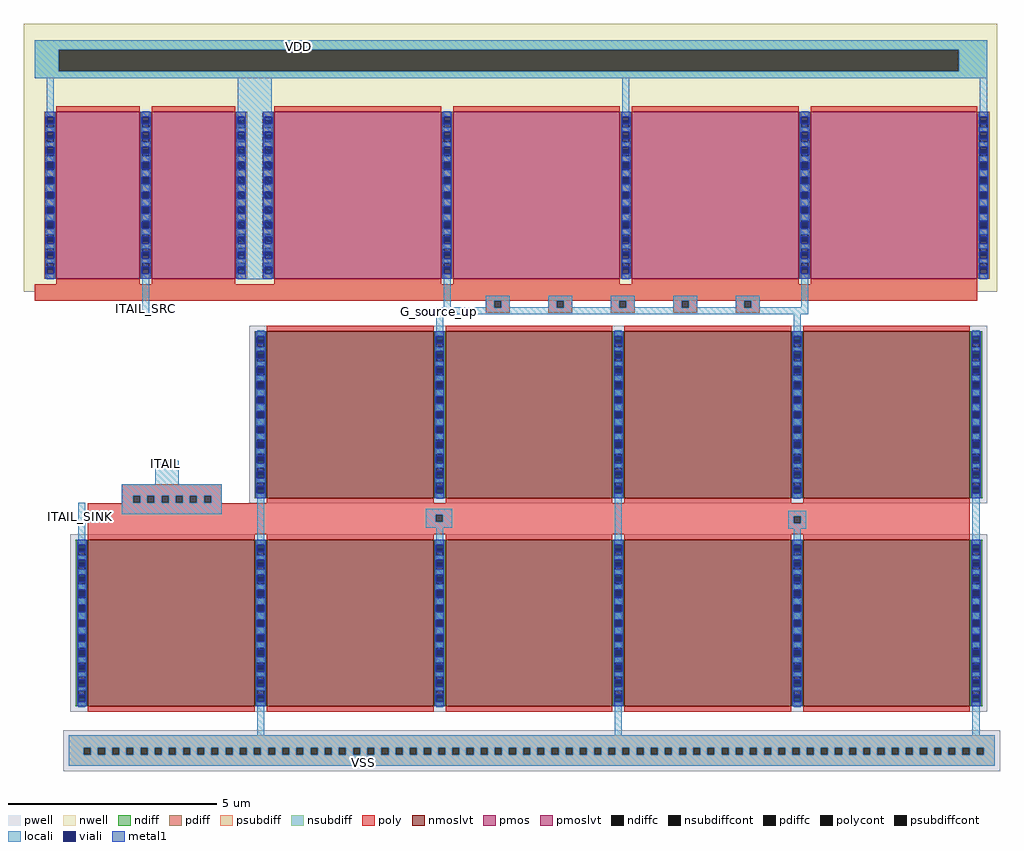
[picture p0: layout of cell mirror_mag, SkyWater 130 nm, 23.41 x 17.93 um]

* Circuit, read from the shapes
.subckt mirror_mag G_source_up ITAIL ITAIL_SINK ITAIL_SRC VDD VSS
XM1 VSS ITAIL ITAIL_SINK VSS sky130_fd_pr__nfet_01v8_lvt w=4 l=4
XM2 ITAIL ITAIL VSS VSS sky130_fd_pr__nfet_01v8_lvt w=4 l=4 m=4
XM3 G_source_up ITAIL VSS VSS sky130_fd_pr__nfet_01v8_lvt w=4 l=4 m=4
XM4 ITAIL_SRC G_source_up VDD VDD sky130_fd_pr__pfet_01v8 w=4 l=2 m=2
XM5 G_source_up G_source_up VDD VDD sky130_fd_pr__pfet_01v8_lvt w=4 l=4 m=4
.ends

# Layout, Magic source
magic
tech sky130A
magscale 1 2
<< nwell >>
rect 1529 2669 6198 3030
rect 1529 1781 1621 2669
rect 1638 2606 1672 2669
rect 2554 1803 2718 2669
rect 4400 2607 4434 2669
rect 6115 2607 6149 2669
rect 5258 1781 5292 1807
rect 1529 1745 6104 1781
rect 1580 1700 6104 1745
<< pwell >>
rect 1718 -557 6212 -359
<< psubdiff >>
rect 1744 -443 6186 -385
rect 1744 -477 1816 -443
rect 1850 -477 1884 -443
rect 1918 -477 1952 -443
rect 1986 -477 2020 -443
rect 2054 -477 2088 -443
rect 2122 -477 2156 -443
rect 2190 -477 2224 -443
rect 2258 -477 2292 -443
rect 2326 -477 2360 -443
rect 2394 -477 2428 -443
rect 2462 -477 2496 -443
rect 2530 -477 2564 -443
rect 2598 -477 2632 -443
rect 2666 -477 2700 -443
rect 2734 -477 2768 -443
rect 2802 -477 2836 -443
rect 2870 -477 2904 -443
rect 2938 -477 2972 -443
rect 3006 -477 3040 -443
rect 3074 -477 3108 -443
rect 3142 -477 3176 -443
rect 3210 -477 3244 -443
rect 3278 -477 3312 -443
rect 3346 -477 3380 -443
rect 3414 -477 3448 -443
rect 3482 -477 3516 -443
rect 3550 -477 3584 -443
rect 3618 -477 3652 -443
rect 3686 -477 3720 -443
rect 3754 -477 3788 -443
rect 3822 -477 3856 -443
rect 3890 -477 3924 -443
rect 3958 -477 3992 -443
rect 4026 -477 4060 -443
rect 4094 -477 4128 -443
rect 4162 -477 4196 -443
rect 4230 -477 4264 -443
rect 4298 -477 4332 -443
rect 4366 -477 4400 -443
rect 4434 -477 4468 -443
rect 4502 -477 4536 -443
rect 4570 -477 4604 -443
rect 4638 -477 4672 -443
rect 4706 -477 4740 -443
rect 4774 -477 4808 -443
rect 4842 -477 4876 -443
rect 4910 -477 4944 -443
rect 4978 -477 5012 -443
rect 5046 -477 5080 -443
rect 5114 -477 5148 -443
rect 5182 -477 5216 -443
rect 5250 -477 5284 -443
rect 5318 -477 5352 -443
rect 5386 -477 5420 -443
rect 5454 -477 5488 -443
rect 5522 -477 5556 -443
rect 5590 -477 5624 -443
rect 5658 -477 5692 -443
rect 5726 -477 5760 -443
rect 5794 -477 5828 -443
rect 5862 -477 5896 -443
rect 5930 -477 5964 -443
rect 5998 -477 6032 -443
rect 6066 -477 6100 -443
rect 6134 -477 6186 -443
rect 1744 -531 6186 -477
<< nsubdiff >>
rect 1580 2905 6150 2951
rect 1580 2803 1695 2905
rect 6013 2803 6150 2905
rect 1580 2769 6150 2803
<< psubdiffcont >>
rect 1816 -477 1850 -443
rect 1884 -477 1918 -443
rect 1952 -477 1986 -443
rect 2020 -477 2054 -443
rect 2088 -477 2122 -443
rect 2156 -477 2190 -443
rect 2224 -477 2258 -443
rect 2292 -477 2326 -443
rect 2360 -477 2394 -443
rect 2428 -477 2462 -443
rect 2496 -477 2530 -443
rect 2564 -477 2598 -443
rect 2632 -477 2666 -443
rect 2700 -477 2734 -443
rect 2768 -477 2802 -443
rect 2836 -477 2870 -443
rect 2904 -477 2938 -443
rect 2972 -477 3006 -443
rect 3040 -477 3074 -443
rect 3108 -477 3142 -443
rect 3176 -477 3210 -443
rect 3244 -477 3278 -443
rect 3312 -477 3346 -443
rect 3380 -477 3414 -443
rect 3448 -477 3482 -443
rect 3516 -477 3550 -443
rect 3584 -477 3618 -443
rect 3652 -477 3686 -443
rect 3720 -477 3754 -443
rect 3788 -477 3822 -443
rect 3856 -477 3890 -443
rect 3924 -477 3958 -443
rect 3992 -477 4026 -443
rect 4060 -477 4094 -443
rect 4128 -477 4162 -443
rect 4196 -477 4230 -443
rect 4264 -477 4298 -443
rect 4332 -477 4366 -443
rect 4400 -477 4434 -443
rect 4468 -477 4502 -443
rect 4536 -477 4570 -443
rect 4604 -477 4638 -443
rect 4672 -477 4706 -443
rect 4740 -477 4774 -443
rect 4808 -477 4842 -443
rect 4876 -477 4910 -443
rect 4944 -477 4978 -443
rect 5012 -477 5046 -443
rect 5080 -477 5114 -443
rect 5148 -477 5182 -443
rect 5216 -477 5250 -443
rect 5284 -477 5318 -443
rect 5352 -477 5386 -443
rect 5420 -477 5454 -443
rect 5488 -477 5522 -443
rect 5556 -477 5590 -443
rect 5624 -477 5658 -443
rect 5692 -477 5726 -443
rect 5760 -477 5794 -443
rect 5828 -477 5862 -443
rect 5896 -477 5930 -443
rect 5964 -477 5998 -443
rect 6032 -477 6066 -443
rect 6100 -477 6134 -443
<< nsubdiffcont >>
rect 1695 2803 6013 2905
<< poly >>
rect 1580 1700 6104 1781
rect 3744 1666 3785 1700
rect 3819 1666 3860 1700
rect 3744 1642 3860 1666
rect 4044 1666 4085 1700
rect 4119 1666 4160 1700
rect 4044 1642 4160 1666
rect 4344 1666 4385 1700
rect 4419 1666 4460 1700
rect 4344 1642 4460 1666
rect 4644 1666 4685 1700
rect 4719 1666 4760 1700
rect 4644 1642 4760 1666
rect 4944 1666 4985 1700
rect 5019 1666 5060 1700
rect 4944 1642 5060 1666
rect 1999 765 2479 821
rect 1999 731 2053 765
rect 2087 731 2121 765
rect 2155 731 2189 765
rect 2223 731 2257 765
rect 2291 731 2325 765
rect 2359 731 2393 765
rect 2427 731 2479 765
rect 1999 728 2479 731
rect 1836 675 6068 728
rect 1836 641 3504 675
rect 3538 667 6068 675
rect 3538 641 5222 667
rect 1836 633 5222 641
rect 5256 633 6068 667
rect 1836 580 6068 633
<< polycont >>
rect 3785 1666 3819 1700
rect 4085 1666 4119 1700
rect 4385 1666 4419 1700
rect 4685 1666 4719 1700
rect 4985 1666 5019 1700
rect 2053 731 2087 765
rect 2121 731 2155 765
rect 2189 731 2223 765
rect 2257 731 2291 765
rect 2325 731 2359 765
rect 2393 731 2427 765
rect 3504 641 3538 675
rect 5222 633 5256 667
<< locali >>
rect 1580 2905 6150 2951
rect 1580 2803 1695 2905
rect 6013 2803 6150 2905
rect 1580 2769 6150 2803
rect 1638 2606 1672 2769
rect 2096 1639 2130 1806
rect 2554 1803 2718 2769
rect 4400 2607 4434 2769
rect 6116 2607 6150 2769
rect 3542 1669 3576 1807
rect 3744 1700 3860 1725
rect 3744 1669 3785 1700
rect 3506 1666 3785 1669
rect 3819 1669 3860 1700
rect 4044 1700 4160 1725
rect 4044 1669 4085 1700
rect 3819 1666 4085 1669
rect 4119 1669 4160 1700
rect 4344 1700 4460 1725
rect 4344 1669 4385 1700
rect 4119 1666 4385 1669
rect 4419 1669 4460 1700
rect 4644 1700 4760 1725
rect 4644 1669 4685 1700
rect 4419 1666 4685 1669
rect 4719 1669 4760 1700
rect 4944 1700 5060 1725
rect 4944 1669 4985 1700
rect 4719 1666 4985 1669
rect 5019 1669 5060 1700
rect 5258 1669 5292 1807
rect 5019 1666 5292 1669
rect 3506 1635 5292 1666
rect 3506 1556 3540 1635
rect 5222 1554 5256 1635
rect 2158 821 2271 934
rect 1999 765 2479 821
rect 1999 731 2053 765
rect 2087 731 2121 765
rect 2155 731 2189 765
rect 2223 731 2257 765
rect 2291 731 2325 765
rect 2359 731 2393 765
rect 2427 731 2479 765
rect 1790 554 1824 731
rect 1999 676 2479 731
rect 2648 554 2682 752
rect 3457 675 3583 703
rect 3457 641 3504 675
rect 3538 641 3583 675
rect 3457 612 3583 641
rect 3506 555 3540 612
rect 4364 554 4398 752
rect 5196 667 5282 693
rect 5196 633 5222 667
rect 5256 633 5282 667
rect 5196 607 5282 633
rect 5222 554 5256 607
rect 6080 554 6114 752
rect 2647 -385 2682 -246
rect 4364 -385 4398 -248
rect 6080 -385 6114 -249
rect 1744 -443 6186 -385
rect 1744 -477 1816 -443
rect 1850 -477 1884 -443
rect 1918 -477 1952 -443
rect 1986 -477 2020 -443
rect 2054 -477 2088 -443
rect 2122 -477 2156 -443
rect 2190 -477 2224 -443
rect 2258 -477 2292 -443
rect 2326 -477 2360 -443
rect 2394 -477 2428 -443
rect 2462 -477 2496 -443
rect 2530 -477 2564 -443
rect 2598 -477 2632 -443
rect 2666 -477 2700 -443
rect 2734 -477 2768 -443
rect 2802 -477 2836 -443
rect 2870 -477 2904 -443
rect 2938 -477 2972 -443
rect 3006 -477 3040 -443
rect 3074 -477 3108 -443
rect 3142 -477 3176 -443
rect 3210 -477 3244 -443
rect 3278 -477 3312 -443
rect 3346 -477 3380 -443
rect 3414 -477 3448 -443
rect 3482 -477 3516 -443
rect 3550 -477 3584 -443
rect 3618 -477 3652 -443
rect 3686 -477 3720 -443
rect 3754 -477 3788 -443
rect 3822 -477 3856 -443
rect 3890 -477 3924 -443
rect 3958 -477 3992 -443
rect 4026 -477 4060 -443
rect 4094 -477 4128 -443
rect 4162 -477 4196 -443
rect 4230 -477 4264 -443
rect 4298 -477 4332 -443
rect 4366 -477 4400 -443
rect 4434 -477 4468 -443
rect 4502 -477 4536 -443
rect 4570 -477 4604 -443
rect 4638 -477 4672 -443
rect 4706 -477 4740 -443
rect 4774 -477 4808 -443
rect 4842 -477 4876 -443
rect 4910 -477 4944 -443
rect 4978 -477 5012 -443
rect 5046 -477 5080 -443
rect 5114 -477 5148 -443
rect 5182 -477 5216 -443
rect 5250 -477 5284 -443
rect 5318 -477 5352 -443
rect 5386 -477 5420 -443
rect 5454 -477 5488 -443
rect 5522 -477 5556 -443
rect 5590 -477 5624 -443
rect 5658 -477 5692 -443
rect 5726 -477 5760 -443
rect 5794 -477 5828 -443
rect 5862 -477 5896 -443
rect 5930 -477 5964 -443
rect 5998 -477 6032 -443
rect 6066 -477 6100 -443
rect 6134 -477 6186 -443
rect 1744 -531 6186 -477
use sky130_fd_pr__nfet_01v8_lvt_QAGZKG  sky130_fd_pr__nfet_01v8_lvt_QAGZKG_0
transform 1 0 4381 0 1 1154
box -1771 -426 1771 426
use sky130_fd_pr__nfet_01v8_lvt_QAGZKG  sky130_fd_pr__nfet_01v8_lvt_QAGZKG_1
transform 1 0 4381 0 1 154
box -1771 -426 1771 426
use sky130_fd_pr__nfet_01v8_lvt_X7SJAL  sky130_fd_pr__nfet_01v8_lvt_X7SJAL_0
transform 1 0 2236 0 1 154
box -484 -426 484 426
use sky130_fd_pr__pfet_01v8_lvt_VFL754  sky130_fd_pr__pfet_01v8_lvt_VFL754_0
transform 1 0 4417 0 1 2207
box -1781 -462 1781 462
use sky130_fd_pr__pfet_01v8_YFYKQQ  sky130_fd_pr__pfet_01v8_YFYKQQ_0
transform 1 0 2113 0 1 2207
box -523 -462 523 462
<< labels >>
flabel locali s 3524 1650 3524 1650 0 FreeSans 2000 0 0 0 G_source_up
flabel locali s 2845 2923 2845 2923 0 FreeSans 2000 0 0 0 VDD
flabel locali s 3159 -514 3159 -514 0 FreeSans 2000 0 0 0 VSS
flabel locali s 1800 667 1800 667 0 FreeSans 2000 0 0 0 ITAIL_SINK
flabel locali s 2207 921 2207 921 0 FreeSans 2000 0 0 0 ITAIL
flabel locali s 2112 1662 2112 1662 0 FreeSans 2000 0 0 0 ITAIL_SRC
<< end >>

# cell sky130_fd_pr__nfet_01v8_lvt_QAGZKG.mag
magic
tech sky130A
magscale 1 2
<< pwell >>
rect -1771 -426 1771 426
<< nmoslvt >>
rect -1687 -400 -887 400
rect -829 -400 -29 400
rect 29 -400 829 400
rect 887 -400 1687 400
<< ndiff >>
rect -1745 357 -1687 400
rect -1745 323 -1733 357
rect -1699 323 -1687 357
rect -1745 289 -1687 323
rect -1745 255 -1733 289
rect -1699 255 -1687 289
rect -1745 221 -1687 255
rect -1745 187 -1733 221
rect -1699 187 -1687 221
rect -1745 153 -1687 187
rect -1745 119 -1733 153
rect -1699 119 -1687 153
rect -1745 85 -1687 119
rect -1745 51 -1733 85
rect -1699 51 -1687 85
rect -1745 17 -1687 51
rect -1745 -17 -1733 17
rect -1699 -17 -1687 17
rect -1745 -51 -1687 -17
rect -1745 -85 -1733 -51
rect -1699 -85 -1687 -51
rect -1745 -119 -1687 -85
rect -1745 -153 -1733 -119
rect -1699 -153 -1687 -119
rect -1745 -187 -1687 -153
rect -1745 -221 -1733 -187
rect -1699 -221 -1687 -187
rect -1745 -255 -1687 -221
rect -1745 -289 -1733 -255
rect -1699 -289 -1687 -255
rect -1745 -323 -1687 -289
rect -1745 -357 -1733 -323
rect -1699 -357 -1687 -323
rect -1745 -400 -1687 -357
rect -887 357 -829 400
rect -887 323 -875 357
rect -841 323 -829 357
rect -887 289 -829 323
rect -887 255 -875 289
rect -841 255 -829 289
rect -887 221 -829 255
rect -887 187 -875 221
rect -841 187 -829 221
rect -887 153 -829 187
rect -887 119 -875 153
rect -841 119 -829 153
rect -887 85 -829 119
rect -887 51 -875 85
rect -841 51 -829 85
rect -887 17 -829 51
rect -887 -17 -875 17
rect -841 -17 -829 17
rect -887 -51 -829 -17
rect -887 -85 -875 -51
rect -841 -85 -829 -51
rect -887 -119 -829 -85
rect -887 -153 -875 -119
rect -841 -153 -829 -119
rect -887 -187 -829 -153
rect -887 -221 -875 -187
rect -841 -221 -829 -187
rect -887 -255 -829 -221
rect -887 -289 -875 -255
rect -841 -289 -829 -255
rect -887 -323 -829 -289
rect -887 -357 -875 -323
rect -841 -357 -829 -323
rect -887 -400 -829 -357
rect -29 357 29 400
rect -29 323 -17 357
rect 17 323 29 357
rect -29 289 29 323
rect -29 255 -17 289
rect 17 255 29 289
rect -29 221 29 255
rect -29 187 -17 221
rect 17 187 29 221
rect -29 153 29 187
rect -29 119 -17 153
rect 17 119 29 153
rect -29 85 29 119
rect -29 51 -17 85
rect 17 51 29 85
rect -29 17 29 51
rect -29 -17 -17 17
rect 17 -17 29 17
rect -29 -51 29 -17
rect -29 -85 -17 -51
rect 17 -85 29 -51
rect -29 -119 29 -85
rect -29 -153 -17 -119
rect 17 -153 29 -119
rect -29 -187 29 -153
rect -29 -221 -17 -187
rect 17 -221 29 -187
rect -29 -255 29 -221
rect -29 -289 -17 -255
rect 17 -289 29 -255
rect -29 -323 29 -289
rect -29 -357 -17 -323
rect 17 -357 29 -323
rect -29 -400 29 -357
rect 829 357 887 400
rect 829 323 841 357
rect 875 323 887 357
rect 829 289 887 323
rect 829 255 841 289
rect 875 255 887 289
rect 829 221 887 255
rect 829 187 841 221
rect 875 187 887 221
rect 829 153 887 187
rect 829 119 841 153
rect 875 119 887 153
rect 829 85 887 119
rect 829 51 841 85
rect 875 51 887 85
rect 829 17 887 51
rect 829 -17 841 17
rect 875 -17 887 17
rect 829 -51 887 -17
rect 829 -85 841 -51
rect 875 -85 887 -51
rect 829 -119 887 -85
rect 829 -153 841 -119
rect 875 -153 887 -119
rect 829 -187 887 -153
rect 829 -221 841 -187
rect 875 -221 887 -187
rect 829 -255 887 -221
rect 829 -289 841 -255
rect 875 -289 887 -255
rect 829 -323 887 -289
rect 829 -357 841 -323
rect 875 -357 887 -323
rect 829 -400 887 -357
rect 1687 357 1745 400
rect 1687 323 1699 357
rect 1733 323 1745 357
rect 1687 289 1745 323
rect 1687 255 1699 289
rect 1733 255 1745 289
rect 1687 221 1745 255
rect 1687 187 1699 221
rect 1733 187 1745 221
rect 1687 153 1745 187
rect 1687 119 1699 153
rect 1733 119 1745 153
rect 1687 85 1745 119
rect 1687 51 1699 85
rect 1733 51 1745 85
rect 1687 17 1745 51
rect 1687 -17 1699 17
rect 1733 -17 1745 17
rect 1687 -51 1745 -17
rect 1687 -85 1699 -51
rect 1733 -85 1745 -51
rect 1687 -119 1745 -85
rect 1687 -153 1699 -119
rect 1733 -153 1745 -119
rect 1687 -187 1745 -153
rect 1687 -221 1699 -187
rect 1733 -221 1745 -187
rect 1687 -255 1745 -221
rect 1687 -289 1699 -255
rect 1733 -289 1745 -255
rect 1687 -323 1745 -289
rect 1687 -357 1699 -323
rect 1733 -357 1745 -323
rect 1687 -400 1745 -357
<< ndiffc >>
rect -1733 323 -1699 357
rect -1733 255 -1699 289
rect -1733 187 -1699 221
rect -1733 119 -1699 153
rect -1733 51 -1699 85
rect -1733 -17 -1699 17
rect -1733 -85 -1699 -51
rect -1733 -153 -1699 -119
rect -1733 -221 -1699 -187
rect -1733 -289 -1699 -255
rect -1733 -357 -1699 -323
rect -875 323 -841 357
rect -875 255 -841 289
rect -875 187 -841 221
rect -875 119 -841 153
rect -875 51 -841 85
rect -875 -17 -841 17
rect -875 -85 -841 -51
rect -875 -153 -841 -119
rect -875 -221 -841 -187
rect -875 -289 -841 -255
rect -875 -357 -841 -323
rect -17 323 17 357
rect -17 255 17 289
rect -17 187 17 221
rect -17 119 17 153
rect -17 51 17 85
rect -17 -17 17 17
rect -17 -85 17 -51
rect -17 -153 17 -119
rect -17 -221 17 -187
rect -17 -289 17 -255
rect -17 -357 17 -323
rect 841 323 875 357
rect 841 255 875 289
rect 841 187 875 221
rect 841 119 875 153
rect 841 51 875 85
rect 841 -17 875 17
rect 841 -85 875 -51
rect 841 -153 875 -119
rect 841 -221 875 -187
rect 841 -289 875 -255
rect 841 -357 875 -323
rect 1699 323 1733 357
rect 1699 255 1733 289
rect 1699 187 1733 221
rect 1699 119 1733 153
rect 1699 51 1733 85
rect 1699 -17 1733 17
rect 1699 -85 1733 -51
rect 1699 -153 1733 -119
rect 1699 -221 1733 -187
rect 1699 -289 1733 -255
rect 1699 -357 1733 -323
<< poly >>
rect -1687 400 -887 426
rect -829 400 -29 426
rect 29 400 829 426
rect 887 400 1687 426
rect -1687 -426 -887 -400
rect -829 -426 -29 -400
rect 29 -426 829 -400
rect 887 -426 1687 -400
<< locali >>
rect -1733 377 -1699 404
rect -1733 305 -1699 323
rect -1733 233 -1699 255
rect -1733 161 -1699 187
rect -1733 89 -1699 119
rect -1733 17 -1699 51
rect -1733 -51 -1699 -17
rect -1733 -119 -1699 -89
rect -1733 -187 -1699 -161
rect -1733 -255 -1699 -233
rect -1733 -323 -1699 -305
rect -1733 -404 -1699 -377
rect -875 377 -841 404
rect -875 305 -841 323
rect -875 233 -841 255
rect -875 161 -841 187
rect -875 89 -841 119
rect -875 17 -841 51
rect -875 -51 -841 -17
rect -875 -119 -841 -89
rect -875 -187 -841 -161
rect -875 -255 -841 -233
rect -875 -323 -841 -305
rect -875 -404 -841 -377
rect -17 377 17 404
rect -17 305 17 323
rect -17 233 17 255
rect -17 161 17 187
rect -17 89 17 119
rect -17 17 17 51
rect -17 -51 17 -17
rect -17 -119 17 -89
rect -17 -187 17 -161
rect -17 -255 17 -233
rect -17 -323 17 -305
rect -17 -404 17 -377
rect 841 377 875 404
rect 841 305 875 323
rect 841 233 875 255
rect 841 161 875 187
rect 841 89 875 119
rect 841 17 875 51
rect 841 -51 875 -17
rect 841 -119 875 -89
rect 841 -187 875 -161
rect 841 -255 875 -233
rect 841 -323 875 -305
rect 841 -404 875 -377
rect 1699 377 1733 404
rect 1699 305 1733 323
rect 1699 233 1733 255
rect 1699 161 1733 187
rect 1699 89 1733 119
rect 1699 17 1733 51
rect 1699 -51 1733 -17
rect 1699 -119 1733 -89
rect 1699 -187 1733 -161
rect 1699 -255 1733 -233
rect 1699 -323 1733 -305
rect 1699 -404 1733 -377
<< viali >>
rect -1733 357 -1699 377
rect -1733 343 -1699 357
rect -1733 289 -1699 305
rect -1733 271 -1699 289
rect -1733 221 -1699 233
rect -1733 199 -1699 221
rect -1733 153 -1699 161
rect -1733 127 -1699 153
rect -1733 85 -1699 89
rect -1733 55 -1699 85
rect -1733 -17 -1699 17
rect -1733 -85 -1699 -55
rect -1733 -89 -1699 -85
rect -1733 -153 -1699 -127
rect -1733 -161 -1699 -153
rect -1733 -221 -1699 -199
rect -1733 -233 -1699 -221
rect -1733 -289 -1699 -271
rect -1733 -305 -1699 -289
rect -1733 -357 -1699 -343
rect -1733 -377 -1699 -357
rect -875 357 -841 377
rect -875 343 -841 357
rect -875 289 -841 305
rect -875 271 -841 289
rect -875 221 -841 233
rect -875 199 -841 221
rect -875 153 -841 161
rect -875 127 -841 153
rect -875 85 -841 89
rect -875 55 -841 85
rect -875 -17 -841 17
rect -875 -85 -841 -55
rect -875 -89 -841 -85
rect -875 -153 -841 -127
rect -875 -161 -841 -153
rect -875 -221 -841 -199
rect -875 -233 -841 -221
rect -875 -289 -841 -271
rect -875 -305 -841 -289
rect -875 -357 -841 -343
rect -875 -377 -841 -357
rect -17 357 17 377
rect -17 343 17 357
rect -17 289 17 305
rect -17 271 17 289
rect -17 221 17 233
rect -17 199 17 221
rect -17 153 17 161
rect -17 127 17 153
rect -17 85 17 89
rect -17 55 17 85
rect -17 -17 17 17
rect -17 -85 17 -55
rect -17 -89 17 -85
rect -17 -153 17 -127
rect -17 -161 17 -153
rect -17 -221 17 -199
rect -17 -233 17 -221
rect -17 -289 17 -271
rect -17 -305 17 -289
rect -17 -357 17 -343
rect -17 -377 17 -357
rect 841 357 875 377
rect 841 343 875 357
rect 841 289 875 305
rect 841 271 875 289
rect 841 221 875 233
rect 841 199 875 221
rect 841 153 875 161
rect 841 127 875 153
rect 841 85 875 89
rect 841 55 875 85
rect 841 -17 875 17
rect 841 -85 875 -55
rect 841 -89 875 -85
rect 841 -153 875 -127
rect 841 -161 875 -153
rect 841 -221 875 -199
rect 841 -233 875 -221
rect 841 -289 875 -271
rect 841 -305 875 -289
rect 841 -357 875 -343
rect 841 -377 875 -357
rect 1699 357 1733 377
rect 1699 343 1733 357
rect 1699 289 1733 305
rect 1699 271 1733 289
rect 1699 221 1733 233
rect 1699 199 1733 221
rect 1699 153 1733 161
rect 1699 127 1733 153
rect 1699 85 1733 89
rect 1699 55 1733 85
rect 1699 -17 1733 17
rect 1699 -85 1733 -55
rect 1699 -89 1733 -85
rect 1699 -153 1733 -127
rect 1699 -161 1733 -153
rect 1699 -221 1733 -199
rect 1699 -233 1733 -221
rect 1699 -289 1733 -271
rect 1699 -305 1733 -289
rect 1699 -357 1733 -343
rect 1699 -377 1733 -357
<< metal1 >>
rect -1739 377 -1693 400
rect -1739 343 -1733 377
rect -1699 343 -1693 377
rect -1739 305 -1693 343
rect -1739 271 -1733 305
rect -1699 271 -1693 305
rect -1739 233 -1693 271
rect -1739 199 -1733 233
rect -1699 199 -1693 233
rect -1739 161 -1693 199
rect -1739 127 -1733 161
rect -1699 127 -1693 161
rect -1739 89 -1693 127
rect -1739 55 -1733 89
rect -1699 55 -1693 89
rect -1739 17 -1693 55
rect -1739 -17 -1733 17
rect -1699 -17 -1693 17
rect -1739 -55 -1693 -17
rect -1739 -89 -1733 -55
rect -1699 -89 -1693 -55
rect -1739 -127 -1693 -89
rect -1739 -161 -1733 -127
rect -1699 -161 -1693 -127
rect -1739 -199 -1693 -161
rect -1739 -233 -1733 -199
rect -1699 -233 -1693 -199
rect -1739 -271 -1693 -233
rect -1739 -305 -1733 -271
rect -1699 -305 -1693 -271
rect -1739 -343 -1693 -305
rect -1739 -377 -1733 -343
rect -1699 -377 -1693 -343
rect -1739 -400 -1693 -377
rect -881 377 -835 400
rect -881 343 -875 377
rect -841 343 -835 377
rect -881 305 -835 343
rect -881 271 -875 305
rect -841 271 -835 305
rect -881 233 -835 271
rect -881 199 -875 233
rect -841 199 -835 233
rect -881 161 -835 199
rect -881 127 -875 161
rect -841 127 -835 161
rect -881 89 -835 127
rect -881 55 -875 89
rect -841 55 -835 89
rect -881 17 -835 55
rect -881 -17 -875 17
rect -841 -17 -835 17
rect -881 -55 -835 -17
rect -881 -89 -875 -55
rect -841 -89 -835 -55
rect -881 -127 -835 -89
rect -881 -161 -875 -127
rect -841 -161 -835 -127
rect -881 -199 -835 -161
rect -881 -233 -875 -199
rect -841 -233 -835 -199
rect -881 -271 -835 -233
rect -881 -305 -875 -271
rect -841 -305 -835 -271
rect -881 -343 -835 -305
rect -881 -377 -875 -343
rect -841 -377 -835 -343
rect -881 -400 -835 -377
rect -23 377 23 400
rect -23 343 -17 377
rect 17 343 23 377
rect -23 305 23 343
rect -23 271 -17 305
rect 17 271 23 305
rect -23 233 23 271
rect -23 199 -17 233
rect 17 199 23 233
rect -23 161 23 199
rect -23 127 -17 161
rect 17 127 23 161
rect -23 89 23 127
rect -23 55 -17 89
rect 17 55 23 89
rect -23 17 23 55
rect -23 -17 -17 17
rect 17 -17 23 17
rect -23 -55 23 -17
rect -23 -89 -17 -55
rect 17 -89 23 -55
rect -23 -127 23 -89
rect -23 -161 -17 -127
rect 17 -161 23 -127
rect -23 -199 23 -161
rect -23 -233 -17 -199
rect 17 -233 23 -199
rect -23 -271 23 -233
rect -23 -305 -17 -271
rect 17 -305 23 -271
rect -23 -343 23 -305
rect -23 -377 -17 -343
rect 17 -377 23 -343
rect -23 -400 23 -377
rect 835 377 881 400
rect 835 343 841 377
rect 875 343 881 377
rect 835 305 881 343
rect 835 271 841 305
rect 875 271 881 305
rect 835 233 881 271
rect 835 199 841 233
rect 875 199 881 233
rect 835 161 881 199
rect 835 127 841 161
rect 875 127 881 161
rect 835 89 881 127
rect 835 55 841 89
rect 875 55 881 89
rect 835 17 881 55
rect 835 -17 841 17
rect 875 -17 881 17
rect 835 -55 881 -17
rect 835 -89 841 -55
rect 875 -89 881 -55
rect 835 -127 881 -89
rect 835 -161 841 -127
rect 875 -161 881 -127
rect 835 -199 881 -161
rect 835 -233 841 -199
rect 875 -233 881 -199
rect 835 -271 881 -233
rect 835 -305 841 -271
rect 875 -305 881 -271
rect 835 -343 881 -305
rect 835 -377 841 -343
rect 875 -377 881 -343
rect 835 -400 881 -377
rect 1693 377 1739 400
rect 1693 343 1699 377
rect 1733 343 1739 377
rect 1693 305 1739 343
rect 1693 271 1699 305
rect 1733 271 1739 305
rect 1693 233 1739 271
rect 1693 199 1699 233
rect 1733 199 1739 233
rect 1693 161 1739 199
rect 1693 127 1699 161
rect 1733 127 1739 161
rect 1693 89 1739 127
rect 1693 55 1699 89
rect 1733 55 1739 89
rect 1693 17 1739 55
rect 1693 -17 1699 17
rect 1733 -17 1739 17
rect 1693 -55 1739 -17
rect 1693 -89 1699 -55
rect 1733 -89 1739 -55
rect 1693 -127 1739 -89
rect 1693 -161 1699 -127
rect 1733 -161 1739 -127
rect 1693 -199 1739 -161
rect 1693 -233 1699 -199
rect 1733 -233 1739 -199
rect 1693 -271 1739 -233
rect 1693 -305 1699 -271
rect 1733 -305 1739 -271
rect 1693 -343 1739 -305
rect 1693 -377 1699 -343
rect 1733 -377 1739 -343
rect 1693 -400 1739 -377
<< end >>

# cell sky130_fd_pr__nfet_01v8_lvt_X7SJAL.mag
magic
tech sky130A
magscale 1 2
<< pwell >>
rect -484 -426 484 426
<< nmoslvt >>
rect -400 -400 400 400
<< ndiff >>
rect -458 357 -400 400
rect -458 323 -446 357
rect -412 323 -400 357
rect -458 289 -400 323
rect -458 255 -446 289
rect -412 255 -400 289
rect -458 221 -400 255
rect -458 187 -446 221
rect -412 187 -400 221
rect -458 153 -400 187
rect -458 119 -446 153
rect -412 119 -400 153
rect -458 85 -400 119
rect -458 51 -446 85
rect -412 51 -400 85
rect -458 17 -400 51
rect -458 -17 -446 17
rect -412 -17 -400 17
rect -458 -51 -400 -17
rect -458 -85 -446 -51
rect -412 -85 -400 -51
rect -458 -119 -400 -85
rect -458 -153 -446 -119
rect -412 -153 -400 -119
rect -458 -187 -400 -153
rect -458 -221 -446 -187
rect -412 -221 -400 -187
rect -458 -255 -400 -221
rect -458 -289 -446 -255
rect -412 -289 -400 -255
rect -458 -323 -400 -289
rect -458 -357 -446 -323
rect -412 -357 -400 -323
rect -458 -400 -400 -357
rect 400 357 458 400
rect 400 323 412 357
rect 446 323 458 357
rect 400 289 458 323
rect 400 255 412 289
rect 446 255 458 289
rect 400 221 458 255
rect 400 187 412 221
rect 446 187 458 221
rect 400 153 458 187
rect 400 119 412 153
rect 446 119 458 153
rect 400 85 458 119
rect 400 51 412 85
rect 446 51 458 85
rect 400 17 458 51
rect 400 -17 412 17
rect 446 -17 458 17
rect 400 -51 458 -17
rect 400 -85 412 -51
rect 446 -85 458 -51
rect 400 -119 458 -85
rect 400 -153 412 -119
rect 446 -153 458 -119
rect 400 -187 458 -153
rect 400 -221 412 -187
rect 446 -221 458 -187
rect 400 -255 458 -221
rect 400 -289 412 -255
rect 446 -289 458 -255
rect 400 -323 458 -289
rect 400 -357 412 -323
rect 446 -357 458 -323
rect 400 -400 458 -357
<< ndiffc >>
rect -446 323 -412 357
rect -446 255 -412 289
rect -446 187 -412 221
rect -446 119 -412 153
rect -446 51 -412 85
rect -446 -17 -412 17
rect -446 -85 -412 -51
rect -446 -153 -412 -119
rect -446 -221 -412 -187
rect -446 -289 -412 -255
rect -446 -357 -412 -323
rect 412 323 446 357
rect 412 255 446 289
rect 412 187 446 221
rect 412 119 446 153
rect 412 51 446 85
rect 412 -17 446 17
rect 412 -85 446 -51
rect 412 -153 446 -119
rect 412 -221 446 -187
rect 412 -289 446 -255
rect 412 -357 446 -323
<< poly >>
rect -400 400 400 426
rect -400 -426 400 -400
<< locali >>
rect -446 377 -412 404
rect -446 305 -412 323
rect -446 233 -412 255
rect -446 161 -412 187
rect -446 89 -412 119
rect -446 17 -412 51
rect -446 -51 -412 -17
rect -446 -119 -412 -89
rect -446 -187 -412 -161
rect -446 -255 -412 -233
rect -446 -323 -412 -305
rect -446 -404 -412 -377
rect 412 377 446 404
rect 412 305 446 323
rect 412 233 446 255
rect 412 161 446 187
rect 412 89 446 119
rect 412 17 446 51
rect 412 -51 446 -17
rect 412 -119 446 -89
rect 412 -187 446 -161
rect 412 -255 446 -233
rect 412 -323 446 -305
rect 412 -404 446 -377
<< viali >>
rect -446 357 -412 377
rect -446 343 -412 357
rect -446 289 -412 305
rect -446 271 -412 289
rect -446 221 -412 233
rect -446 199 -412 221
rect -446 153 -412 161
rect -446 127 -412 153
rect -446 85 -412 89
rect -446 55 -412 85
rect -446 -17 -412 17
rect -446 -85 -412 -55
rect -446 -89 -412 -85
rect -446 -153 -412 -127
rect -446 -161 -412 -153
rect -446 -221 -412 -199
rect -446 -233 -412 -221
rect -446 -289 -412 -271
rect -446 -305 -412 -289
rect -446 -357 -412 -343
rect -446 -377 -412 -357
rect 412 357 446 377
rect 412 343 446 357
rect 412 289 446 305
rect 412 271 446 289
rect 412 221 446 233
rect 412 199 446 221
rect 412 153 446 161
rect 412 127 446 153
rect 412 85 446 89
rect 412 55 446 85
rect 412 -17 446 17
rect 412 -85 446 -55
rect 412 -89 446 -85
rect 412 -153 446 -127
rect 412 -161 446 -153
rect 412 -221 446 -199
rect 412 -233 446 -221
rect 412 -289 446 -271
rect 412 -305 446 -289
rect 412 -357 446 -343
rect 412 -377 446 -357
<< metal1 >>
rect -452 377 -406 400
rect -452 343 -446 377
rect -412 343 -406 377
rect -452 305 -406 343
rect -452 271 -446 305
rect -412 271 -406 305
rect -452 233 -406 271
rect -452 199 -446 233
rect -412 199 -406 233
rect -452 161 -406 199
rect -452 127 -446 161
rect -412 127 -406 161
rect -452 89 -406 127
rect -452 55 -446 89
rect -412 55 -406 89
rect -452 17 -406 55
rect -452 -17 -446 17
rect -412 -17 -406 17
rect -452 -55 -406 -17
rect -452 -89 -446 -55
rect -412 -89 -406 -55
rect -452 -127 -406 -89
rect -452 -161 -446 -127
rect -412 -161 -406 -127
rect -452 -199 -406 -161
rect -452 -233 -446 -199
rect -412 -233 -406 -199
rect -452 -271 -406 -233
rect -452 -305 -446 -271
rect -412 -305 -406 -271
rect -452 -343 -406 -305
rect -452 -377 -446 -343
rect -412 -377 -406 -343
rect -452 -400 -406 -377
rect 406 377 452 400
rect 406 343 412 377
rect 446 343 452 377
rect 406 305 452 343
rect 406 271 412 305
rect 446 271 452 305
rect 406 233 452 271
rect 406 199 412 233
rect 446 199 452 233
rect 406 161 452 199
rect 406 127 412 161
rect 446 127 452 161
rect 406 89 452 127
rect 406 55 412 89
rect 446 55 452 89
rect 406 17 452 55
rect 406 -17 412 17
rect 446 -17 452 17
rect 406 -55 452 -17
rect 406 -89 412 -55
rect 446 -89 452 -55
rect 406 -127 452 -89
rect 406 -161 412 -127
rect 446 -161 452 -127
rect 406 -199 452 -161
rect 406 -233 412 -199
rect 446 -233 452 -199
rect 406 -271 452 -233
rect 406 -305 412 -271
rect 446 -305 452 -271
rect 406 -343 452 -305
rect 406 -377 412 -343
rect 446 -377 452 -343
rect 406 -400 452 -377
<< end >>

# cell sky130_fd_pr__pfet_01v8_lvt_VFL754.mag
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
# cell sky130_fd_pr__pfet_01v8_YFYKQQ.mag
magic
tech sky130A
magscale 1 2
<< nwell >>
rect -523 -462 523 462
<< pmos >>
rect -429 -400 -29 400
rect 29 -400 429 400
<< pdiff >>
rect -487 357 -429 400
rect -487 323 -475 357
rect -441 323 -429 357
rect -487 289 -429 323
rect -487 255 -475 289
rect -441 255 -429 289
rect -487 221 -429 255
rect -487 187 -475 221
rect -441 187 -429 221
rect -487 153 -429 187
rect -487 119 -475 153
rect -441 119 -429 153
rect -487 85 -429 119
rect -487 51 -475 85
rect -441 51 -429 85
rect -487 17 -429 51
rect -487 -17 -475 17
rect -441 -17 -429 17
rect -487 -51 -429 -17
rect -487 -85 -475 -51
rect -441 -85 -429 -51
rect -487 -119 -429 -85
rect -487 -153 -475 -119
rect -441 -153 -429 -119
rect -487 -187 -429 -153
rect -487 -221 -475 -187
rect -441 -221 -429 -187
rect -487 -255 -429 -221
rect -487 -289 -475 -255
rect -441 -289 -429 -255
rect -487 -323 -429 -289
rect -487 -357 -475 -323
rect -441 -357 -429 -323
rect -487 -400 -429 -357
rect -29 357 29 400
rect -29 323 -17 357
rect 17 323 29 357
rect -29 289 29 323
rect -29 255 -17 289
rect 17 255 29 289
rect -29 221 29 255
rect -29 187 -17 221
rect 17 187 29 221
rect -29 153 29 187
rect -29 119 -17 153
rect 17 119 29 153
rect -29 85 29 119
rect -29 51 -17 85
rect 17 51 29 85
rect -29 17 29 51
rect -29 -17 -17 17
rect 17 -17 29 17
rect -29 -51 29 -17
rect -29 -85 -17 -51
rect 17 -85 29 -51
rect -29 -119 29 -85
rect -29 -153 -17 -119
rect 17 -153 29 -119
rect -29 -187 29 -153
rect -29 -221 -17 -187
rect 17 -221 29 -187
rect -29 -255 29 -221
rect -29 -289 -17 -255
rect 17 -289 29 -255
rect -29 -323 29 -289
rect -29 -357 -17 -323
rect 17 -357 29 -323
rect -29 -400 29 -357
rect 429 357 487 400
rect 429 323 441 357
rect 475 323 487 357
rect 429 289 487 323
rect 429 255 441 289
rect 475 255 487 289
rect 429 221 487 255
rect 429 187 441 221
rect 475 187 487 221
rect 429 153 487 187
rect 429 119 441 153
rect 475 119 487 153
rect 429 85 487 119
rect 429 51 441 85
rect 475 51 487 85
rect 429 17 487 51
rect 429 -17 441 17
rect 475 -17 487 17
rect 429 -51 487 -17
rect 429 -85 441 -51
rect 475 -85 487 -51
rect 429 -119 487 -85
rect 429 -153 441 -119
rect 475 -153 487 -119
rect 429 -187 487 -153
rect 429 -221 441 -187
rect 475 -221 487 -187
rect 429 -255 487 -221
rect 429 -289 441 -255
rect 475 -289 487 -255
rect 429 -323 487 -289
rect 429 -357 441 -323
rect 475 -357 487 -323
rect 429 -400 487 -357
<< pdiffc >>
rect -475 323 -441 357
rect -475 255 -441 289
rect -475 187 -441 221
rect -475 119 -441 153
rect -475 51 -441 85
rect -475 -17 -441 17
rect -475 -85 -441 -51
rect -475 -153 -441 -119
rect -475 -221 -441 -187
rect -475 -289 -441 -255
rect -475 -357 -441 -323
rect -17 323 17 357
rect -17 255 17 289
rect -17 187 17 221
rect -17 119 17 153
rect -17 51 17 85
rect -17 -17 17 17
rect -17 -85 17 -51
rect -17 -153 17 -119
rect -17 -221 17 -187
rect -17 -289 17 -255
rect -17 -357 17 -323
rect 441 323 475 357
rect 441 255 475 289
rect 441 187 475 221
rect 441 119 475 153
rect 441 51 475 85
rect 441 -17 475 17
rect 441 -85 475 -51
rect 441 -153 475 -119
rect 441 -221 475 -187
rect 441 -289 475 -255
rect 441 -357 475 -323
<< poly >>
rect -429 400 -29 426
rect 29 400 429 426
rect -429 -426 -29 -400
rect 29 -426 429 -400
<< locali >>
rect -475 377 -441 404
rect -475 305 -441 323
rect -475 233 -441 255
rect -475 161 -441 187
rect -475 89 -441 119
rect -475 17 -441 51
rect -475 -51 -441 -17
rect -475 -119 -441 -89
rect -475 -187 -441 -161
rect -475 -255 -441 -233
rect -475 -323 -441 -305
rect -475 -404 -441 -377
rect -17 377 17 404
rect -17 305 17 323
rect -17 233 17 255
rect -17 161 17 187
rect -17 89 17 119
rect -17 17 17 51
rect -17 -51 17 -17
rect -17 -119 17 -89
rect -17 -187 17 -161
rect -17 -255 17 -233
rect -17 -323 17 -305
rect -17 -404 17 -377
rect 441 377 475 404
rect 441 305 475 323
rect 441 233 475 255
rect 441 161 475 187
rect 441 89 475 119
rect 441 17 475 51
rect 441 -51 475 -17
rect 441 -119 475 -89
rect 441 -187 475 -161
rect 441 -255 475 -233
rect 441 -323 475 -305
rect 441 -404 475 -377
<< viali >>
rect -475 357 -441 377
rect -475 343 -441 357
rect -475 289 -441 305
rect -475 271 -441 289
rect -475 221 -441 233
rect -475 199 -441 221
rect -475 153 -441 161
rect -475 127 -441 153
rect -475 85 -441 89
rect -475 55 -441 85
rect -475 -17 -441 17
rect -475 -85 -441 -55
rect -475 -89 -441 -85
rect -475 -153 -441 -127
rect -475 -161 -441 -153
rect -475 -221 -441 -199
rect -475 -233 -441 -221
rect -475 -289 -441 -271
rect -475 -305 -441 -289
rect -475 -357 -441 -343
rect -475 -377 -441 -357
rect -17 357 17 377
rect -17 343 17 357
rect -17 289 17 305
rect -17 271 17 289
rect -17 221 17 233
rect -17 199 17 221
rect -17 153 17 161
rect -17 127 17 153
rect -17 85 17 89
rect -17 55 17 85
rect -17 -17 17 17
rect -17 -85 17 -55
rect -17 -89 17 -85
rect -17 -153 17 -127
rect -17 -161 17 -153
rect -17 -221 17 -199
rect -17 -233 17 -221
rect -17 -289 17 -271
rect -17 -305 17 -289
rect -17 -357 17 -343
rect -17 -377 17 -357
rect 441 357 475 377
rect 441 343 475 357
rect 441 289 475 305
rect 441 271 475 289
rect 441 221 475 233
rect 441 199 475 221
rect 441 153 475 161
rect 441 127 475 153
rect 441 85 475 89
rect 441 55 475 85
rect 441 -17 475 17
rect 441 -85 475 -55
rect 441 -89 475 -85
rect 441 -153 475 -127
rect 441 -161 475 -153
rect 441 -221 475 -199
rect 441 -233 475 -221
rect 441 -289 475 -271
rect 441 -305 475 -289
rect 441 -357 475 -343
rect 441 -377 475 -357
<< metal1 >>
rect -481 377 -435 400
rect -481 343 -475 377
rect -441 343 -435 377
rect -481 305 -435 343
rect -481 271 -475 305
rect -441 271 -435 305
rect -481 233 -435 271
rect -481 199 -475 233
rect -441 199 -435 233
rect -481 161 -435 199
rect -481 127 -475 161
rect -441 127 -435 161
rect -481 89 -435 127
rect -481 55 -475 89
rect -441 55 -435 89
rect -481 17 -435 55
rect -481 -17 -475 17
rect -441 -17 -435 17
rect -481 -55 -435 -17
rect -481 -89 -475 -55
rect -441 -89 -435 -55
rect -481 -127 -435 -89
rect -481 -161 -475 -127
rect -441 -161 -435 -127
rect -481 -199 -435 -161
rect -481 -233 -475 -199
rect -441 -233 -435 -199
rect -481 -271 -435 -233
rect -481 -305 -475 -271
rect -441 -305 -435 -271
rect -481 -343 -435 -305
rect -481 -377 -475 -343
rect -441 -377 -435 -343
rect -481 -400 -435 -377
rect -23 377 23 400
rect -23 343 -17 377
rect 17 343 23 377
rect -23 305 23 343
rect -23 271 -17 305
rect 17 271 23 305
rect -23 233 23 271
rect -23 199 -17 233
rect 17 199 23 233
rect -23 161 23 199
rect -23 127 -17 161
rect 17 127 23 161
rect -23 89 23 127
rect -23 55 -17 89
rect 17 55 23 89
rect -23 17 23 55
rect -23 -17 -17 17
rect 17 -17 23 17
rect -23 -55 23 -17
rect -23 -89 -17 -55
rect 17 -89 23 -55
rect -23 -127 23 -89
rect -23 -161 -17 -127
rect 17 -161 23 -127
rect -23 -199 23 -161
rect -23 -233 -17 -199
rect 17 -233 23 -199
rect -23 -271 23 -233
rect -23 -305 -17 -271
rect 17 -305 23 -271
rect -23 -343 23 -305
rect -23 -377 -17 -343
rect 17 -377 23 -343
rect -23 -400 23 -377
rect 435 377 481 400
rect 435 343 441 377
rect 475 343 481 377
rect 435 305 481 343
rect 435 271 441 305
rect 475 271 481 305
rect 435 233 481 271
rect 435 199 441 233
rect 475 199 481 233
rect 435 161 481 199
rect 435 127 441 161
rect 475 127 481 161
rect 435 89 481 127
rect 435 55 441 89
rect 475 55 481 89
rect 435 17 481 55
rect 435 -17 441 17
rect 475 -17 481 17
rect 435 -55 481 -17
rect 435 -89 441 -55
rect 475 -89 481 -55
rect 435 -127 481 -89
rect 435 -161 441 -127
rect 475 -161 481 -127
rect 435 -199 481 -161
rect 435 -233 441 -199
rect 475 -233 481 -199
rect 435 -271 481 -233
rect 435 -305 441 -271
rect 475 -305 481 -271
rect 435 -343 481 -305
rect 435 -377 441 -343
rect 475 -377 481 -343
rect 435 -400 481 -377
<< end >>
